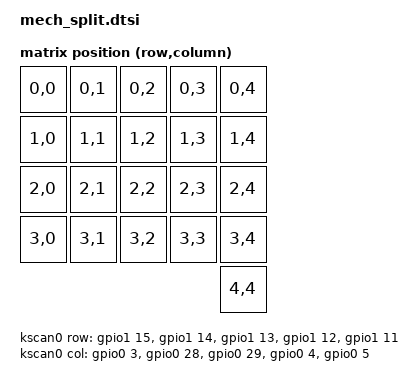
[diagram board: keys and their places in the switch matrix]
#include <dt-bindings/zmk/matrix_transform.h>

/ {
    chosen {
        zmk,kscan = &kscan0;
        zmk,matrix_transform = &default_transform;
    };

    default_transform: keymap_transform_0 {
        compatible = "zmk,matrix-transform";
        columns = <5>;
        rows = <5>;
        map = 
            RC(0,0) RC(0,1) RC(0,2) RC(0,3) RC(0,4)
            RC(1,0) RC(1,1) RC(1,2) RC(1,3) RC(1,4)
            RC(2,0) RC(2,1) RC(2,2) RC(2,3) RC(2,4)
            RC(3,0) RC(3,1) RC(3,2) RC(3,3) RC(3,4)
                                            RC(4,4)
        >;
    };

    kscan0: kscan {
        compatible = "zmk,kscan-gpio-matrix";
        label = "KSCAN";
        diode-direction = "col2row";

        col-gpios
            = <&gpio0 3  GPIO_ACTIVE_HIGH>   /* col0 P0.03 */
            , <&gpio0 28 GPIO_ACTIVE_HIGH>   /* col1 P0.28 */
            , <&gpio0 29 GPIO_ACTIVE_HIGH>   /* col2 P0.29 */
            , <&gpio0 4  GPIO_ACTIVE_HIGH>   /* col3 P0.04 */
            , <&gpio0 5  GPIO_ACTIVE_HIGH>   /* col4 P0.05 */
            ;

        row-gpios
            = <&gpio1 15 (GPIO_ACTIVE_HIGH | GPIO_PULL_DOWN)>  /* row0 P1.15 */
            , <&gpio1 14 (GPIO_ACTIVE_HIGH | GPIO_PULL_DOWN)>  /* row1 P1.14 */
            , <&gpio1 13 (GPIO_ACTIVE_HIGH | GPIO_PULL_DOWN)>  /* row2 P1.13 */
            , <&gpio1 12 (GPIO_ACTIVE_HIGH | GPIO_PULL_DOWN)>  /* row3 P1.12 */
            , <&gpio1 11 (GPIO_ACTIVE_HIGH | GPIO_PULL_DOWN)>  /* row4 P1.11 */
            ;
    };
};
